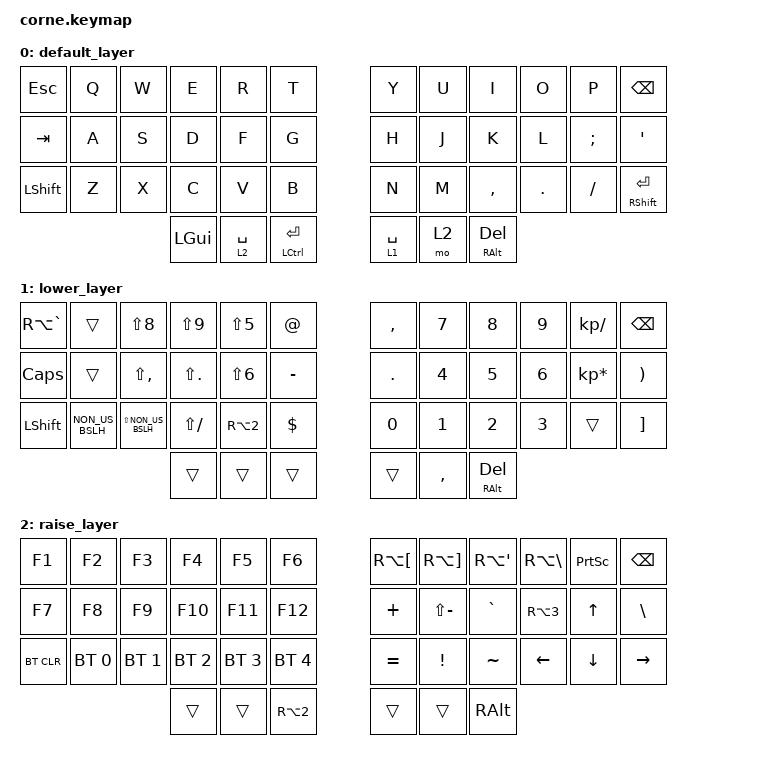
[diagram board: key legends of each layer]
/*
 * Copyright (c) 2020 The ZMK Contributors
 *
 * SPDX-License-Identifier: MIT
 */



#include <behaviors.dtsi>
#include <dt-bindings/zmk/keys.h>
#include <dt-bindings/zmk/bt.h>

/ {
        keymap {
                compatible = "zmk,keymap";

                default_layer {
// -----------------------------------------------------------------------------------------
// | ESC  |  Q  |  W  |  E  |  R  |  T  |   |  Y  |  U   |  I  |  O  |  P  | BKSP |
// | TAB  |  A  |  S  |  D  |  F  |  G  |   |  H  |  J   |  K  |  L  |  ;  |  '   |
// | SHFT |  Z  |  X  |  C  |  V  |  B  |   |  N  |  M   |  ,  |  .  |  /  | RET  |
//                    | GUI | LWR | CTRL |   | SPAC | RSE  | ALT |
                        bindings = <
   &kp ESC   &kp Q &kp W &kp E &kp R &kp T   &kp Y &kp U  &kp I     &kp O   &kp P    &kp BSPC
   &kp TAB   &kp A &kp S &kp D &kp F &kp G   &kp H &kp J  &kp K     &kp L   &kp SEMI &kp SQT
   &kp LSHFT &kp Z &kp X &kp C &kp V &kp B   &kp N &kp M  &kp COMMA &kp DOT &kp FSLH &mt RSHFT RET 
       &kp LGUI &lt 2 SPACE &mt LCTRL RET    &lt 1 SPACE  &mo 2 &mt RALT DEL 
                        >;
                };
                lower_layer {
// -----------------------------------------------------------------------------------------
// | ESC  |     |  (  |  )  |  %  |  "  |   |  ,  |  7  |  8  |  9  |  /  | BKSP |
// |      |     |  ;  |  :  |  &  |  '  |   |  .  |  4  |  5  |  6  |  *  |  =   |
// | LCAPS|  <  |  >  |  _  |  @  |  $  |   |  0  |  1  |  2  |  3  |  -  |  +   |
//                    | GUI |     |CTRL |   | ENT |     | ALT |
                        bindings = <
   &kp RA(GRAVE) &trans           &kp LS(N8)      &kp LS(N9)   &kp LS(N5)   &kp AT        &kp COMMA   &kp N7     &kp N8  &kp N9  &kp KP_DIVIDE     &kp BSPC
   &kp CLCK      &trans           &kp LS(COMMA)   &kp LS(DOT)  &kp LS(N6)   &kp MINUS 	  &kp DOT     &kp N4     &kp N5  &kp N6  &kp KP_MULTIPLY   &kp RPAR
   &kp LSHFT     &kp NON_US_BSLH  &kp LS(NON_US_BSLH)   &kp LS(FSLH)  &kp RA(N2)   &kp DLLR      &kp N0     &kp N1  &kp N2  &kp N3  &trans   &kp RBKT
                          	       &trans         &trans       &trans         &trans      &kp COMMA  &mt RALT DEL
                        >;
                };
                raise_layer {
// -----------------------------------------------------------------------------------------
// | F1  | F2 |  F3 | F4  | F5  | F6  |     | [  |  ]  |  {  |  }  | PSCR| BKSP |
// | F7  | F8 |  F9 | F10 | F11 | F12 |     | ¿  |  ?  |  #  |  &  | UP  |  ç   |
// |BTCLR| BT1 | BT2| BT3 |BT4  | BT5 |     |  ¡ |  !  |  %  |  L  | DOWN|  R   |
//             | bootloader |  _  | @   |     | ENT|     | ALT |
                        bindings = <
   &kp F1       &kp F2       &kp F3       &kp F4       &kp F5       &kp F6          &kp RA(LBKT)  &kp RA(RBKT)   &kp RA(SQT)  &kp RA(BSLH)  &kp PSCRN   &kp BSPC
   &kp F7       &kp F8       &kp F9       &kp F10      &kp F11      &kp F12         &kp PLUS      &kp LS(MINUS)  &kp GRAVE    &kp RA(N3)    &kp UP      &kp BSLH
   &bt BT_CLR   &bt BT_SEL 0 &bt BT_SEL 1 &bt BT_SEL 2 &bt BT_SEL 3 &bt BT_SEL 4    &kp EQUAL     &kp EXCL       &kp TILDE    &kp LEFT      &kp DOWN    &kp RIGHT
                                          &trans       &trans 	    &kp RA(N2)      &trans        &trans         &kp RALT
                        >;
                };
        };
};
